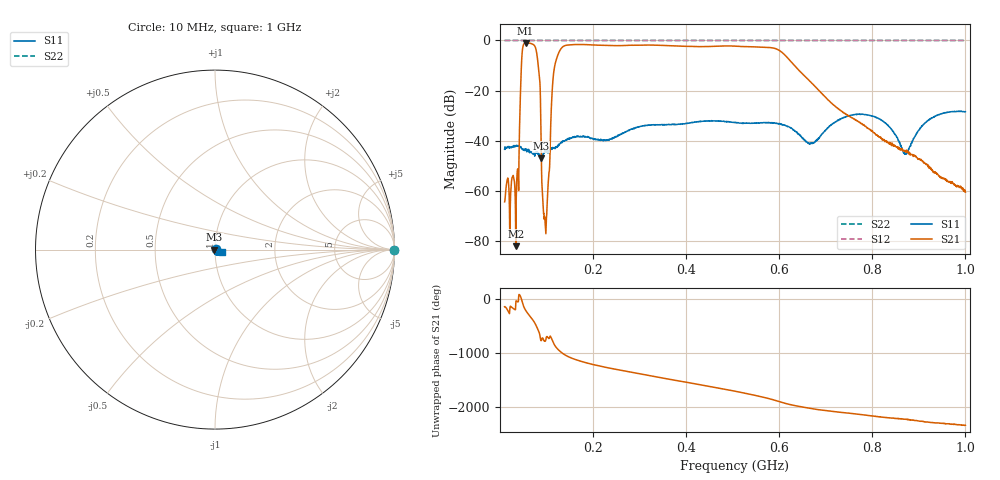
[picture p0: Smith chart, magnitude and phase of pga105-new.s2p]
! Anritsu VNA Master:  Model: MS2024B
! SN:  2417009
! /card0/usr/pga105-new.s2p
! Existing Calibration Information:
! TYPE:  Current Settings,  Active Cal Settings
! TIME:  10/08/2026 03:04:43 AM,  10/08/2026 02:19:59 AM
! INTERNAL TEMP:  46.5 C,  45.5 C
! # POINTS:  1609,  1609
! START FREQ:  10.000 MHz,  10.000 MHz
! STOP FREQ:  1.000 GHz,  1.000 GHz
! SOURCE POWER:  Default,  Default
! IFBW:  1 kHz,  1 kHz
! AVG FACTOR:  1 ,  1
! REF PLANE 1:  0 mm,  0 mm
! REF PLANE 2:  0 mm,  0 mm
! CAL TYPE:  1P2P S11,S21,  1P2P S11,S21
! CAL METHOD:  SOLT,  SOLT
! CAL LINE TYPE:  Coax,  Coax
! DUT PORT 1:  N-Conn(M),  N-Conn(M)
! DUT PORT 2:  N-Conn(M),  N-Conn(M)
! CAL STATUS:  OK: Accuracy High,  --
# GHZ S DB R 50.0
! FREQ.GHZ  S11DB  S11A  S21DB  S21A  S12DB  S12A  S22DB  S22A
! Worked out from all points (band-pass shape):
!   1609 points, 10 MHz to 1 GHz, reference 50 ohm
!   highest |S21| = -1.02 dB at 54.94 MHz (marker M1); lowest = -82.0 dB at 34.01 MHz (marker M2)
!   |S21| within 3 dB of the highest: 48.11 MHz to 77.93 MHz (29.82 MHz wide, 47.3 % of centre); 128.7 MHz to 600.6 MHz (471.9 MHz wide, 129 % of centre)
!   lowest |S11| = -47.0 dB at 88.19 MHz (marker M3), VSWR 1.01, Z = 49.6 - j0.0287 ohm
!   |S11| at or under -10 dB: start of sweep to end of sweep
!   |S22| runs from 0.0 to 0.0 dB; largest |S21 - S12| = 1.9
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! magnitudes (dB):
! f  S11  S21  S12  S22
! 10 MHz  -43.4  -64.3  0.0  0.0
! 34.01 MHz  -42.1  -82.0  0.0  0.0
! 38.32 MHz  -42.1  -51.2  0.0  0.0
! 48.17 MHz  -43.3  -3.9  0.0  0.0
! 54.94 MHz  -43.3  -1.0  0.0  0.0
! 78.96 MHz  -44.8  -5.0  0.0  0.0
! 83.26 MHz  -45.1  -11.8  0.0  0.0
! 88.19 MHz  -47.0  -36.8  0.0  0.0
! 93.73 MHz  -44.8  -69.1  0.0  0.0
! 97.43 MHz  -44.2  -73.3  0.0  0.0
! 113.4 MHz  -43.1  -16.7  0.0  0.0
! 119.6 MHz  -42.6  -8.6  0.0  0.0
! 175 MHz  -38.4  -1.6  0.0  0.0
! 340 MHz  -33.6  -1.9  0.0  0.0
! 505 MHz  -32.6  -2.3  0.0  0.0
! 596.1 MHz  -33.1  -3.6  0.0  0.0
! 670 MHz  -41.0  -17.0  0.0  0.0
! 758 MHz  -29.7  -31.0  0.0  0.0
! 835 MHz  -34.0  -40.7  0.0  0.0
! 871.9 MHz  -45.2  -44.5  0.0  0.0
! 923 MHz  -31.5  -51.0  0.0  0.0
! 1 GHz  -28.4  -60.5  0.0  0.0
